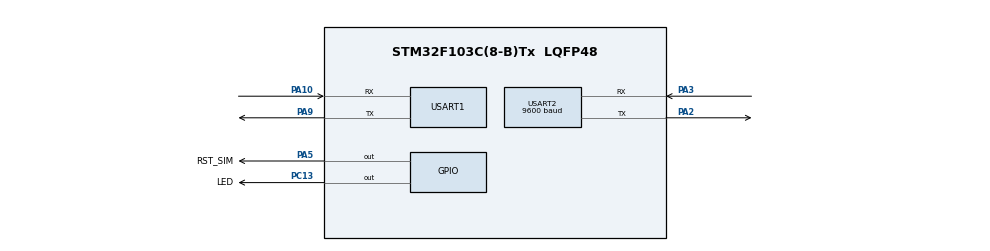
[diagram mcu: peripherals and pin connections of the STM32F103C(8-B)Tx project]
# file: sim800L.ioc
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Mcu.Family=STM32F1
Mcu.Name=STM32F103C(8-B)Tx
Mcu.Package=LQFP48
NVIC.PriorityGroup=NVIC_PRIORITYGROUP_4
NVIC.USART1_IRQn=true\:0\:0\:false\:false\:true\:true\:true\:true
NVIC.USART2_IRQn=true\:0\:0\:false\:false\:true\:true\:true\:true
PA10.Mode=Asynchronous
PA10.Signal=USART1_RX
PA13.Mode=Serial_Wire
PA13.Signal=SYS_JTMS-SWDIO
PA14.Mode=Serial_Wire
PA14.Signal=SYS_JTCK-SWCLK
PA2.Mode=Asynchronous
PA2.Signal=USART2_TX
PA3.Mode=Asynchronous
PA3.Signal=USART2_RX
PA5.GPIO_Label=RST_SIM
PA5.GPIO_PuPd=GPIO_PULLUP
PA5.PinState=GPIO_PIN_SET
PA5.Signal=GPIO_Output
PA9.Mode=Asynchronous
PA9.Signal=USART1_TX
PC13-TAMPER-RTC.GPIO_Label=LED
PC13-TAMPER-RTC.GPIO_PuPd=GPIO_PULLDOWN
PC13-TAMPER-RTC.Signal=GPIO_Output
ProjectManager.HeapSize=0x200
ProjectManager.StackSize=0x400
ProjectManager.TargetToolchain=STM32CubeIDE
RCC.APB1Freq_Value=8000000
RCC.APB2Freq_Value=8000000
USART1.VirtualMode=VM_ASYNC
USART2.BaudRate=9600
USART2.VirtualMode=VM_ASYNC
board=custom

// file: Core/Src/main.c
/* USER CODE BEGIN Header */
/**
  ******************************************************************************
  * @file           : main.c
  * @brief          : Main program body
  ******************************************************************************
  * @attention
  *
  * Copyright (c) 2023 STMicroelectronics.
  * All rights reserved.
  *
  * This software is licensed under terms that can be found in the LICENSE file
  * in the root directory of this software component.
  * If no LICENSE file comes with this software, it is provided AS-IS.
  *
  ******************************************************************************
  */
/* USER CODE END Header */
#include "main.h"

/* USER CODE BEGIN Includes */

#include <string.h>
#include <stdio.h>

/* USER CODE END Includes */

UART_HandleTypeDef huart1;
UART_HandleTypeDef huart2;

void SystemClock_Config(void);
static void MX_GPIO_Init(void);
static void MX_USART1_UART_Init(void);
static void MX_USART2_UART_Init(void);
/* USER CODE BEGIN PFP */

// Esto redirige el scanf y el printf a la UART del puerto serie

#ifdef __GNUC__
#define PUTCHAR_PROTOTYPE int __io_putchar(int ch)
#define GETCHAR_PROTOTYPE int __io_getchar(void)
#else
#define PUTCHAR_PROTOTYPE int fputc(int ch, FILE *f)
#define GETCHAR_PROTOTYPE int fgetc(FILE *f)
#endif

PUTCHAR_PROTOTYPE
{
  HAL_UART_Transmit(&huart1, (uint8_t *)&ch, 1, HAL_MAX_DELAY);
  return ch;
}

GETCHAR_PROTOTYPE
{
  uint8_t ch = 0;

  /* Clear the Overrun flag just before receiving the first character */
  __HAL_UART_CLEAR_OREFLAG(&huart1);

  /* Wait for reception of a character on the USART RX line and echo this
   * character on console */
  HAL_UART_Receive(&huart1, (uint8_t *)&ch, 1, HAL_MAX_DELAY);
  HAL_UART_Transmit(&huart1, (uint8_t *)&ch, 1, HAL_MAX_DELAY);

  return ch;
}

/* USER CODE END PFP */

/* USER CODE BEGIN 0 */

//char response [RESPONSE_LEN] = {0};

/* USER CODE END 0 */

int main(void)
{

  /* MCU Configuration--------------------------------------------------------*/

  /* Reset of all peripherals, Initializes the Flash interface and the Systick. */
  HAL_Init();

  /* Configure the system clock */
  SystemClock_Config();

  /* USER CODE BEGIN SysInit */

  setvbuf(stdin, NULL, _IONBF, 0);	// Esto es necesario para que scanf ande bien
  	  	  	  	  	  	  	  	    // con esto y lo de arriba ya anda el scanf :)

  /* USER CODE END SysInit */

  /* Initialize all configured peripherals */
  MX_GPIO_Init();
  MX_USART1_UART_Init();
  MX_USART2_UART_Init();

  /* USER CODE BEGIN 2 */

  printf("Test de comandos AT... \r\n");

  // Inicializacion de la clase con la que manejo el sim800L

  SIM800 sim800;
  InitSIM(&sim800,&huart2,1);

  EnviarAT(&sim800);
  ConsultarEstadoSIM(&sim800);

  int bypass_conection = 0;

  printf("Conectando a la red...(Presione alguna tecla para diagnosticar)\r\n");

  while( ( isConnected(&sim800,0) != 1 ) && (bypass_conection == 0) )
  {
	  if (__HAL_UART_GET_FLAG(&huart1, UART_FLAG_RXNE) == SET)
	  {
		  {
			  printf("Todavia no se ha podido establecer la conexion.\r\n");
		  	  printf("1) Reintentar\r\n");
		  	  printf("2) Diagnosticar\r\n");
		  	  printf("3) Serial Debug\r\n");
		  	  printf("4) Continuar sin conexion\r\n");

		  	  int opcion;
		  	  scanf("%d",&opcion);
		  	  switch(opcion)
		  	  {
		  	  case 1:
		  		  break;
		  	  case 2:
		  		  ConsultarSignal(&sim800);
		  		  HAL_Delay(1000);
		  		  ListarRedesDisponibles(&sim800);
		  		  break;
		  	  case 3:
		  		  printf("Modo de Serial Debug. Ingrese ctr+z para salir\r\n");
		  		  SerialDebug(&huart1,&huart2,26);
		  		  break;

		  	  case 4:
		  		  bypass_conection=1;
		  		  break;
		  	  }

		    }
		  printf("Conectando a la red...(Presione alguna tecla para diagnosticar)\r\n");
	  }
  }
  printf("Conectado con exito\r\n");

  ConsultarBateria(&sim800);
  InitGPRS(&sim800,1);
  BorrarAllSMS(&sim800, 1);

  /* USER CODE END 2 */

  /* Infinite loop */
  /* USER CODE BEGIN WHILE */

  char IP [50] = "181.231.229.4";
  char numero_cel [50] = "+5492966544589";
  int puerto = 1150;

  while (1)
  {
	printf("Bienvenido al Test de SIM800L\r\n");
	printf("1) Serial Debug\r\n");
	printf("2) Recibir msj SMS \r\n");
	printf("3) Enviar msj SMS \r\n");
	printf("4) Testear el modo GPRS\r\n");
	printf("5) Enviar un msj TCP\r\n");
	printf("6) Enviar un msj largo (500 bytes) por TCP\r\n");
	printf("7) Cambiar destino de comunicacion TCP (IP y puerto) \r\n");

	int opcion1;
	char opcion2;
	fflush(stdin);scanf("%d",&opcion1);

	switch(opcion1)
	{
	case 1:
		printf("Modo de Serial Debug. Ingrese ctr+z para salir\r\n");
		SerialDebug(&huart1,&huart2,26);
		break;
	case 2:
			do{
				printf("Esperando por SMS (Presione ctrl+z para abortar)...\r\n");
				char comando1 [LEN_CMD] = "\r\nLED_TOGGLE\r\n";

				if (ListenSMS(&sim800,&huart1) == 1)
				{
					printf("Texto del mensaje: %s",sim800.txt_last_sms);
					if(strncmp((sim800.txt_last_sms),comando1,strlen(comando1)) == 0)
					{
						HAL_GPIO_TogglePin(LED_GPIO_Port, LED_Pin);
					}
				}

				printf("Desea esperar por otro SMS? (s/n) \r\n");
				fflush(stdin);
				scanf("%c",&opcion2);
				}while( opcion2 == 's');

			break;

	case 3:
		EnviarSMS(&sim800,numero_cel,"Hola desde el SIM800 por SMS",1);
		break;

	case 4:
		printf("Probando GPRS, recuperando algo de una pag web... \r\n");
		TestGPRS(&sim800,1);
		break;

	case 5:
		printf("Enviando un msj al IP: %s\r\n",IP);
		SendTCPtoIP(&sim800, "Hola desde el SIM800L por protocolo TCP\r\n", IP, puerto,1);
		break;

	case 6:
		printf("Enviando un msj largo al IP: %s\r\n",IP);
		SendTCPtoIP(&sim800, sim800.buffer_largo , IP, puerto,1);
		break;
	case 7:
		printf("Ingrese el IP deseado (IP actual: %s):\r\n",IP);
		scanf("%s",IP);fflush(stdin);
		printf("Ingrese el puerto deseado(Puerto actual: %d):\r\n",puerto);
		scanf("%d",&puerto);fflush(stdin);
		break;
	}

    /* USER CODE END WHILE */

  }
}

void SystemClock_Config(void)
{
  RCC_OscInitTypeDef RCC_OscInitStruct = {0};
  RCC_ClkInitTypeDef RCC_ClkInitStruct = {0};

  /** Initializes the RCC Oscillators according to the specified parameters
  * in the RCC_OscInitTypeDef structure.
  */
  RCC_OscInitStruct.OscillatorType = RCC_OSCILLATORTYPE_HSI;
  RCC_OscInitStruct.HSIState = RCC_HSI_ON;
  RCC_OscInitStruct.HSICalibrationValue = RCC_HSICALIBRATION_DEFAULT;
  RCC_OscInitStruct.PLL.PLLState = RCC_PLL_NONE;
  if (HAL_RCC_OscConfig(&RCC_OscInitStruct) != HAL_OK)
  {
    Error_Handler();
  }

  /** Initializes the CPU, AHB and APB buses clocks
  */
  RCC_ClkInitStruct.ClockType = RCC_CLOCKTYPE_HCLK|RCC_CLOCKTYPE_SYSCLK
                              |RCC_CLOCKTYPE_PCLK1|RCC_CLOCKTYPE_PCLK2;
  RCC_ClkInitStruct.SYSCLKSource = RCC_SYSCLKSOURCE_HSI;
  RCC_ClkInitStruct.AHBCLKDivider = RCC_SYSCLK_DIV1;
  RCC_ClkInitStruct.APB1CLKDivider = RCC_HCLK_DIV1;
  RCC_ClkInitStruct.APB2CLKDivider = RCC_HCLK_DIV1;

  if (HAL_RCC_ClockConfig(&RCC_ClkInitStruct, FLASH_LATENCY_0) != HAL_OK)
  {
    Error_Handler();
  }
}

static void MX_USART1_UART_Init(void)
{

  huart1.Instance = USART1;
  huart1.Init.BaudRate = 115200;
  huart1.Init.WordLength = UART_WORDLENGTH_8B;
  huart1.Init.StopBits = UART_STOPBITS_1;
  huart1.Init.Parity = UART_PARITY_NONE;
  huart1.Init.Mode = UART_MODE_TX_RX;
  huart1.Init.HwFlowCtl = UART_HWCONTROL_NONE;
  huart1.Init.OverSampling = UART_OVERSAMPLING_16;
  if (HAL_UART_Init(&huart1) != HAL_OK)
  {
    Error_Handler();
  }

}

static void MX_USART2_UART_Init(void)
{

  huart2.Instance = USART2;
  huart2.Init.BaudRate = 9600;
  huart2.Init.WordLength = UART_WORDLENGTH_8B;
  huart2.Init.StopBits = UART_STOPBITS_1;
  huart2.Init.Parity = UART_PARITY_NONE;
  huart2.Init.Mode = UART_MODE_TX_RX;
  huart2.Init.HwFlowCtl = UART_HWCONTROL_NONE;
  huart2.Init.OverSampling = UART_OVERSAMPLING_16;
  if (HAL_UART_Init(&huart2) != HAL_OK)
  {
    Error_Handler();
  }

}

static void MX_GPIO_Init(void)
{
  GPIO_InitTypeDef GPIO_InitStruct = {0};

  /* GPIO Ports Clock Enable */
  __HAL_RCC_GPIOC_CLK_ENABLE();
  __HAL_RCC_GPIOA_CLK_ENABLE();

  /*Configure GPIO pin Output Level */
  HAL_GPIO_WritePin(LED_GPIO_Port, LED_Pin, GPIO_PIN_RESET);

  /*Configure GPIO pin Output Level */
  HAL_GPIO_WritePin(RST_SIM_GPIO_Port, RST_SIM_Pin, GPIO_PIN_SET);

  /*Configure GPIO pin : LED_Pin */
  GPIO_InitStruct.Pin = LED_Pin;
  GPIO_InitStruct.Mode = GPIO_MODE_OUTPUT_PP;
  GPIO_InitStruct.Pull = GPIO_PULLDOWN;
  GPIO_InitStruct.Speed = GPIO_SPEED_FREQ_LOW;
  HAL_GPIO_Init(LED_GPIO_Port, &GPIO_InitStruct);

  /*Configure GPIO pin : RST_SIM_Pin */
  GPIO_InitStruct.Pin = RST_SIM_Pin;
  GPIO_InitStruct.Mode = GPIO_MODE_OUTPUT_PP;
  GPIO_InitStruct.Pull = GPIO_PULLUP;
  GPIO_InitStruct.Speed = GPIO_SPEED_FREQ_LOW;
  HAL_GPIO_Init(RST_SIM_GPIO_Port, &GPIO_InitStruct);

}

void Error_Handler(void)
{
  __disable_irq();
  while (1)
  {
  }
}
